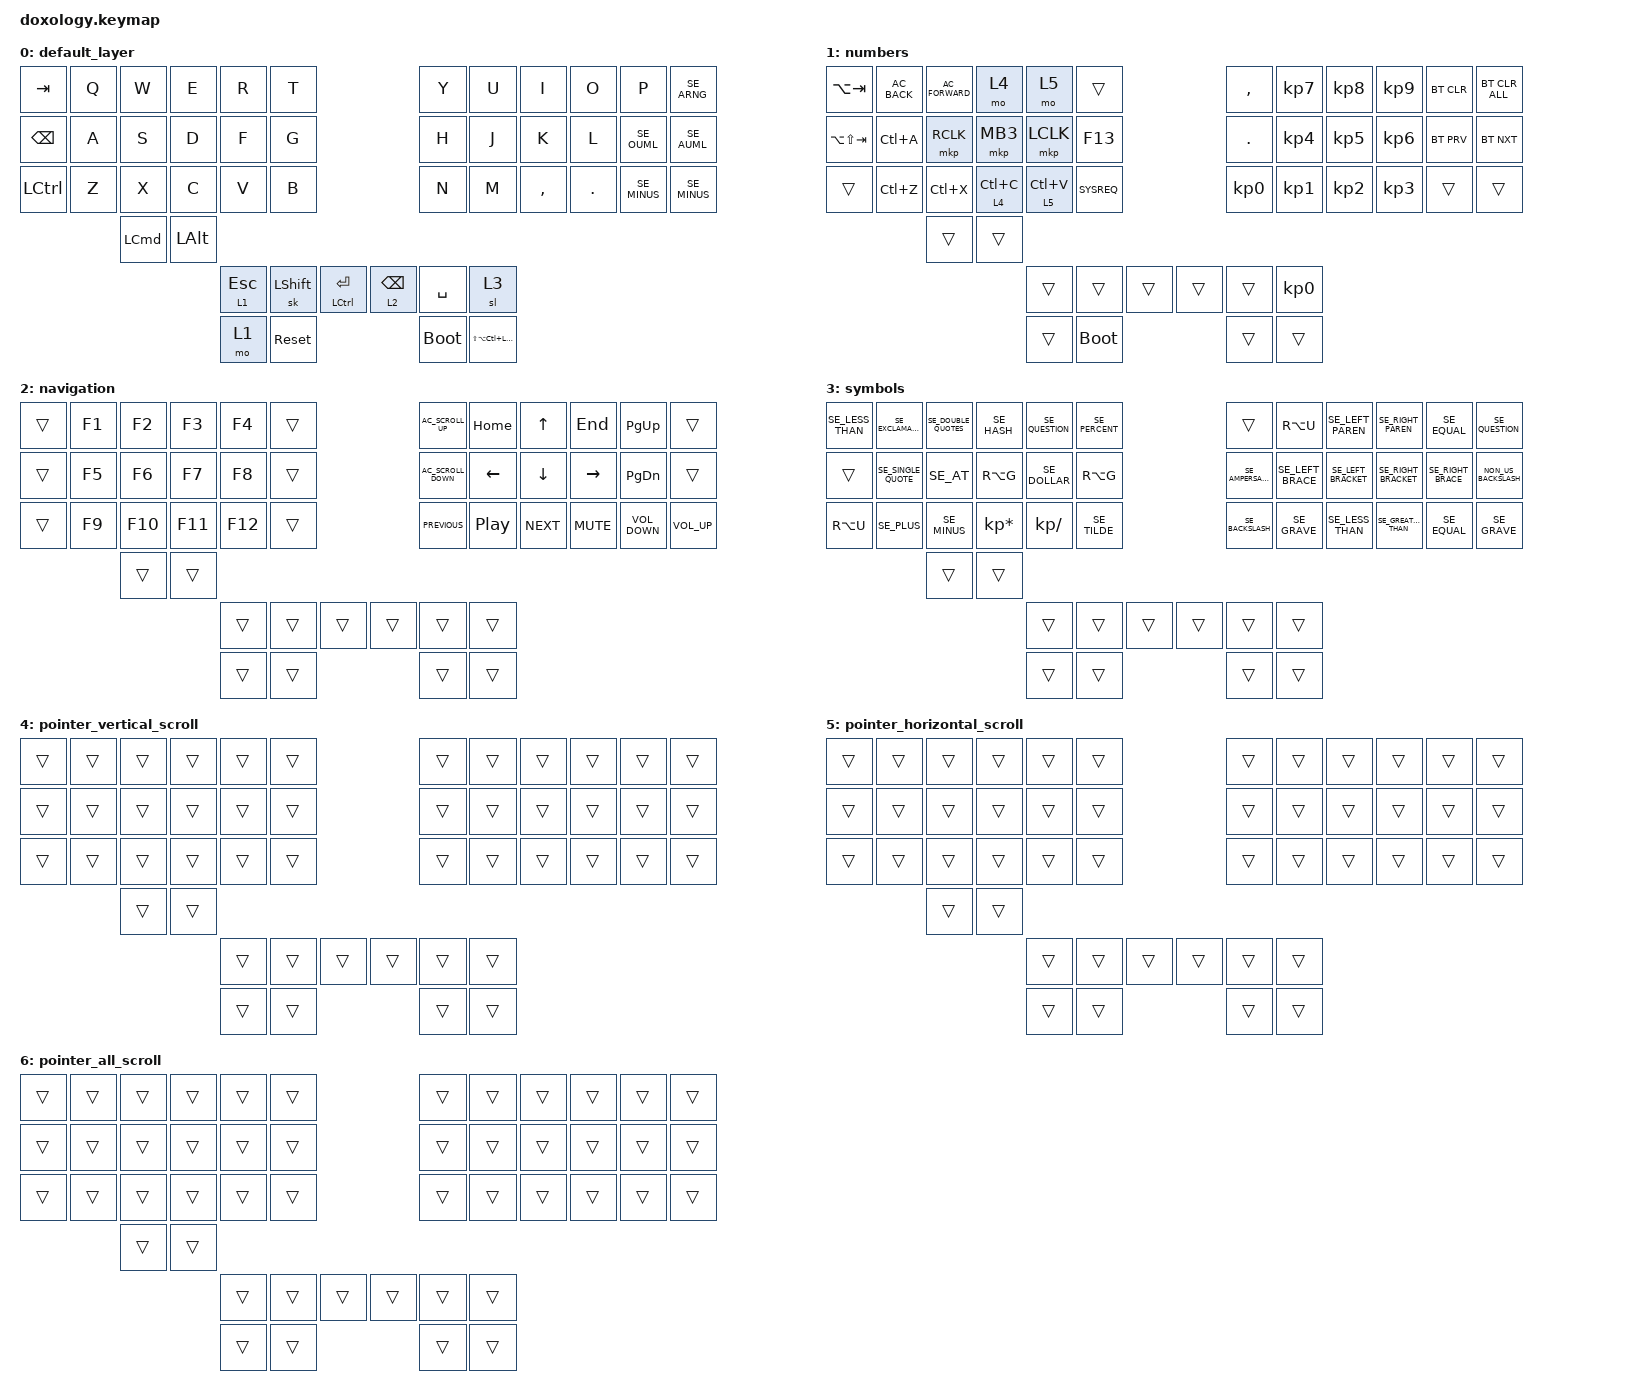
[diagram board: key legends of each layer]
/*
 * Copyright (c) 2020 The ZMK Contributors
 *
 * SPDX-License-Identifier: MIT
 */

#include <behaviors/mouse_keys.dtsi>
#include "keymap_swedish.h"
#include <behaviors.dtsi>
#include <dt-bindings/zmk/bt.h>
#include <dt-bindings/zmk/keys.h>
#include <dt-bindings/zmk/mouse.h>

/ {
    combos {
        compatible = "zmk,combos";

        flash_firmware {
            bindings = <&bootloader>;
            key-positions = <39 40 41>;
        };
    };

    /* START input behaviour for trackball */

    tb0_mmv_ibl {
        /* new forked compatible name */

        compatible = "zmk,input-behavior-listener";

        /* the input point device alias */

        device = <&trackball>;

        /* only enable in mouse key layer */

        layers = <1>;

        /* event code value to override raw input event */
        /* designed for switching to mouse scroll, xy-swap, precise-mode+, etc */
        /* NOTE: only apply input-code overriding for INPUT_EV_REL */

        evt-type = <INPUT_EV_REL>;
        x-input-code = <INPUT_REL_X>;
        y-input-code = <INPUT_REL_Y>;
        scale-multiplier = <1>;
        scale-divisor = <1>;

        /* bind a behavior to auto activate MSK layer for &mkp */
        /* bindings = <&ib_tog_layer 4>; */
        /* align to CCW 45 degree */
        /* rotate-deg = <315>; */
        /* NOTE 1: This settings do not compitable with y-invert and x-invert */
        /* NOTE 2: Floating point computation requires alot of ram. */
        /*         This feature will cuase stackove flow with CONFIG_ZMK_USB_LOGGING=y */
    };

    /* input config for mouse scroll mode on momentary mouse scroll layer */

    tb0_mvsl_ibl {
        compatible = "zmk,input-behavior-listener";
        device = <&trackball>;
        layers = <4>;
        evt-type = <INPUT_EV_REL>;

        /* slienting x-axis with alt event code */

        x-input-code = <INPUT_REL_MISC>;
        y-input-code = <INPUT_REL_WHEEL>;

        /* invert scrolling direction */

        y-invert;
        bindings = <&ib_wheel_scaler 1 50>, <&ib_misc_scaler 0 0>;
    };

    tb0_mhsl_ibl {
        compatible = "zmk,input-behavior-listener";
        device = <&trackball>;
        layers = <5>;
        evt-type = <INPUT_EV_REL>;
        x-input-code = <INPUT_REL_HWHEEL>;
        y-input-code = <INPUT_REL_MISC>;
        bindings = <&ib_hwheel_scaler 1 50>, <&ib_misc_scaler 0 0>;
    };

    tb0_msl_ibl {
        compatible = "zmk,input-behavior-listener";
        device = <&trackball>;
        layers = <6>;
        evt-type = <INPUT_EV_REL>;
        x-input-code = <INPUT_REL_HWHEEL>;
        y-input-code = <INPUT_REL_WHEEL>;

        /* invert scrolling direction */

        y-invert;
        bindings = <&ib_wheel_scaler 1 50>, <&ib_hwheel_scaler 1 50>;
    };

    /* define a resolution down scaler only for INPUT_REL_WHEEL */

    ib_wheel_scaler: ib_wheel_scaler {
        compatible = "zmk,input-behavior-scaler";
        #binding-cells = <2>;
        evt-type = <INPUT_EV_REL>;
        input-code = <INPUT_REL_WHEEL>;
    };

    ib_misc_scaler: ib_misc_scaler {
        compatible = "zmk,input-behavior-scaler";
        #binding-cells = <2>;
        evt-type = <INPUT_EV_REL>;
        input-code = <INPUT_REL_MISC>;
    };

    ib_hwheel_scaler: ib_hwheel_scaler {
        compatible = "zmk,input-behavior-scaler";
        #binding-cells = <2>;
        evt-type = <INPUT_EV_REL>;
        input-code = <INPUT_REL_HWHEEL>;
    };

    /* END input behaviour for trackball */

    keymap {
        compatible = "zmk,keymap";

        default_layer {
            bindings = <
&kp TAB        &kp Q  &kp W             &kp E         &kp R      &kp T                                               &kp Y        &kp U                 &kp I      &kp O       &kp P         &kp SE_ARNG
&kp BACKSPACE  &kp A  &kp S             &kp D         &kp F      &kp G                                               &kp H        &kp J                 &kp K      &kp L       &kp SE_OUML   &kp SE_AUML
&kp LCTRL      &kp Z  &kp X             &kp C         &kp V      &kp B                                               &kp N        &kp M                 &kp COMMA  &kp PERIOD  &kp SE_MINUS  &kp SE_MINUS
                      &kp LEFT_COMMAND  &kp LEFT_ALT
                                                      &lt 1 ESC  &sk LEFT_SHIFT  &mt LCTRL ENTER    &lt 2 BACKSPACE  &kp SPACE    &sl 3
                                                      &mo 1      &sys_reset                                          &bootloader  &kp LS(LA(LC(LCMD)))
            >;
        };

        numbers {
            bindings = <
&kp LA(TAB)      &kp C_AC_BACK  &kp C_AC_FORWARD  &mo 4        &mo 5        &trans                         &kp COMMA        &kp KP_NUMBER_7  &kp KP_NUMBER_8  &kp KP_NUMBER_9  &bt BT_CLR  &bt BT_CLR_ALL
&kp LA(LS(TAB))  &kp LC(A)      &mkp RCLK         &mkp MB3     &mkp LCLK    &kp F13                        &kp DOT          &kp KP_NUMBER_4  &kp KP_NUMBER_5  &kp KP_NUMBER_6  &bt BT_PRV  &bt BT_NXT
&trans           &kp LC(Z)      &kp LC(X)         &lt 4 LC(C)  &lt 5 LC(V)  &kp SYSREQ                     &kp KP_NUMBER_0  &kp KP_NUMBER_1  &kp KP_NUMBER_2  &kp KP_NUMBER_3  &trans      &trans
                                &trans            &trans
                                                               &trans       &trans       &trans    &trans  &trans           &kp KP_NUMBER_0
                                                               &trans       &bootloader                    &trans           &trans
            >;
        };

        navigation {
            bindings = <
&trans  &kp F1  &kp F2   &kp F3   &kp F4   &trans                    &kp C_AC_SCROLL_UP    &kp HOME          &kp UP      &kp END     &kp PAGE_UP        &trans
&trans  &kp F5  &kp F6   &kp F7   &kp F8   &trans                    &kp C_AC_SCROLL_DOWN  &kp LEFT          &kp DOWN    &kp RIGHT   &kp PAGE_DOWN      &trans
&trans  &kp F9  &kp F10  &kp F11  &kp F12  &trans                    &kp C_PREVIOUS        &kp C_PLAY_PAUSE  &kp C_NEXT  &kp C_MUTE  &kp C_VOLUME_DOWN  &kp C_VOLUME_UP
                &trans   &trans
                                  &trans   &trans  &trans    &trans  &trans                &trans
                                  &trans   &trans                    &trans                &trans
            >;
        };

        symbols {
            bindings = <
&kp SE_LESS_THAN  &kp SE_EXCLAMATION   &kp SE_DOUBLE_QUOTES  &kp SE_HASH      &kp SE_QUESTION  &kp SE_PERCENT                    &trans            &kp RA(U)          &kp SE_LEFT_PAREN    &kp SE_RIGHT_PAREN    &kp SE_EQUAL        &kp SE_QUESTION
&trans            &kp SE_SINGLE_QUOTE  &kp SE_AT             &kp RA(G)        &kp SE_DOLLAR    &kp RA(G)                         &kp SE_AMPERSAND  &kp SE_LEFT_BRACE  &kp SE_LEFT_BRACKET  &kp SE_RIGHT_BRACKET  &kp SE_RIGHT_BRACE  &kp NON_US_BACKSLASH
&kp RA(U)         &kp SE_PLUS          &kp SE_MINUS          &kp KP_MULTIPLY  &kp KP_DIVIDE    &kp SE_TILDE                      &kp SE_BACKSLASH  &kp SE_GRAVE       &kp SE_LESS_THAN     &kp SE_GREATER_THAN   &kp SE_EQUAL        &kp SE_GRAVE
                                       &trans                &trans
                                                                              &trans           &trans          &trans    &trans  &trans            &trans
                                                                              &trans           &trans                            &trans            &trans
            >;
        };

        pointer_vertical_scroll {
            bindings = <
&trans  &trans  &trans  &trans  &trans  &trans                    &trans  &trans  &trans  &trans  &trans  &trans
&trans  &trans  &trans  &trans  &trans  &trans                    &trans  &trans  &trans  &trans  &trans  &trans
&trans  &trans  &trans  &trans  &trans  &trans                    &trans  &trans  &trans  &trans  &trans  &trans
                &trans  &trans
                                &trans  &trans  &trans    &trans  &trans  &trans
                                &trans  &trans                    &trans  &trans
            >;
        };

        pointer_horizontal_scroll {
            bindings = <
&trans  &trans  &trans  &trans  &trans  &trans                    &trans  &trans  &trans  &trans  &trans  &trans
&trans  &trans  &trans  &trans  &trans  &trans                    &trans  &trans  &trans  &trans  &trans  &trans
&trans  &trans  &trans  &trans  &trans  &trans                    &trans  &trans  &trans  &trans  &trans  &trans
                &trans  &trans
                                &trans  &trans  &trans    &trans  &trans  &trans
                                &trans  &trans                    &trans  &trans
            >;
        };

        pointer_all_scroll {
            bindings = <
&trans  &trans  &trans  &trans  &trans  &trans                    &trans  &trans  &trans  &trans  &trans  &trans
&trans  &trans  &trans  &trans  &trans  &trans                    &trans  &trans  &trans  &trans  &trans  &trans
&trans  &trans  &trans  &trans  &trans  &trans                    &trans  &trans  &trans  &trans  &trans  &trans
                &trans  &trans
                                &trans  &trans  &trans    &trans  &trans  &trans
                                &trans  &trans                    &trans  &trans
            >;
        };
    };

    conditional_layers {
        compatible = "zmk,conditional-layers";

        scroll_all {
            if-layers = <4 5>;
            then-layer = <6>;
        };
    };
};
